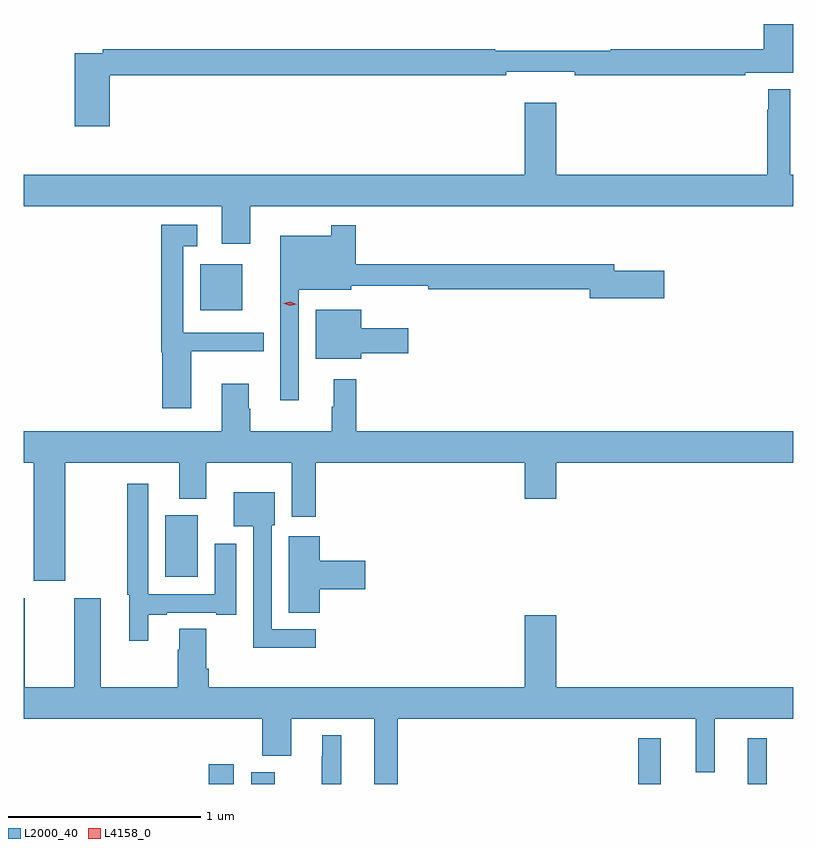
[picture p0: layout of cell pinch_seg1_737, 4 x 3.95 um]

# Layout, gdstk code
import gdstk
lib = gdstk.Library(unit=1e-6, precision=1e-09)
def R(c, l, rs):  # rectangles x0, y0, x1, y1
    for r in rs: c.add(gdstk.rectangle(r[:2], r[2:], *l))
def P(c, l, *ps):  # polygons
    for p in ps: c.add(gdstk.Polygon(p, *l))
L2000_40 = (2000, 40)
L4158_0 = (4158, 0)

pinch_seg1_737 = lib.new_cell('pinch_seg1_737')
R(pinch_seg1_737, L2000_40, [(858.668,522.09,858.799,522.193), (858.89,522.09,859.012,522.151), (860.901,522.09,861.019,522.328), (861.47,522.09,861.568,522.328), (858.443,523.166,858.613,523.486), (858.626,524.552,858.844,524.791)])
P(pinch_seg1_737, L2000_40, [(858.155,525.772),(860.216,525.772),(860.216,525.791),(860.572,525.791),(860.572,525.772),(861.458,525.772),(861.458,525.785),(861.707,525.785),(861.707,526.039),(861.554,526.039),(861.554,525.908),(860.758,525.908),(860.758,525.901),(860.158,525.901),(860.158,525.908),(858.118,525.908),(858.118,525.888),(857.972,525.888),(857.972,525.507),(858.155,525.507)],
  [(858.886,525.092),(861.707,525.092),(861.707,525.256),(861.691,525.256),(861.691,525.7),(861.576,525.7),(861.576,525.593),(861.57,525.593),(861.57,525.256),(860.476,525.256),(860.476,525.631),(860.312,525.631),(860.312,525.256),(857.707,525.256),(857.707,525.092),(858.737,525.092),(858.737,524.898),(858.886,524.898)],
  [(858.577,524.339),(858.956,524.339),(858.956,524.436),(858.537,524.436),(858.537,524.885),(858.61,524.885),(858.61,524.995),(858.421,524.995),(858.421,524.333),(858.428,524.333),(858.428,524.043),(858.577,524.043)],
  [(859.137,524.657),(859.41,524.657),(859.41,524.68),(859.81,524.68),(859.81,524.662),(860.648,524.662),(860.648,524.615),(861.037,524.615),(861.037,524.757),(860.776,524.757),(860.776,524.791),(859.433,524.791),(859.433,524.992),(859.305,524.992),(859.305,524.938),(859.04,524.938),(859.04,524.561),(859.041,524.561),(859.041,524.085),(859.137,524.085)],
  [(859.462,524.329),(859.705,524.329),(859.705,524.458),(859.462,524.458),(859.462,524.554),(859.226,524.554),(859.226,524.3),(859.462,524.3)],
  [(859.1,523.479),(859.226,523.479),(859.226,523.76),(860.312,523.76),(860.312,523.572),(860.476,523.572),(860.476,523.76),(861.707,523.76),(861.707,523.924),(859.436,523.924),(859.436,524.194),(859.319,524.194),(859.319,524.051),(859.308,524.051),(859.308,523.924),(858.885,523.924),(858.885,524.039),(858.877,524.039),(858.877,524.17),(858.737,524.17),(858.737,523.924),(857.707,523.924),(857.707,523.76),(857.759,523.76),(857.759,523.145),(857.923,523.145),(857.923,523.76),(858.515,523.76),(858.515,523.571),(858.655,523.571),(858.655,523.76),(859.1,523.76)],
  [(858.355,522.969),(858.451,522.969),(858.451,522.981),(858.707,522.981),(858.707,522.969),(858.811,522.969),(858.811,523.339),(858.701,523.339),(858.701,523.077),(858.354,523.077),(858.354,523.651),(858.246,523.651),(858.246,523.074),(858.257,523.074),(858.257,522.834),(858.355,522.834)],
  [(859.225,522.894),(858.996,522.894),(858.996,523.434),(859.012,523.434),(859.012,523.606),(858.8,523.606),(858.8,523.43),(858.9,523.43),(858.9,522.797),(859.225,522.797)],
  [(859.247,523.103),(859.483,523.103),(859.483,523.25),(859.247,523.25),(859.247,523.378),(859.085,523.378),(859.085,522.979),(859.247,522.979)],
  [(859.652,522.428),(861.2,522.428),(861.2,522.15),(861.298,522.15),(861.298,522.428),(861.707,522.428),(861.707,522.592),(860.476,522.592),(860.476,522.967),(860.312,522.967),(860.312,522.592),(858.668,522.592),(858.668,522.688),(858.655,522.688),(858.655,522.896),(858.515,522.896),(858.515,522.788),(858.508,522.788),(858.508,522.592),(858.109,522.592),(858.109,523.054),(857.969,523.054),(857.969,522.592),(857.713,522.592),(857.713,523.054),(857.707,523.054),(857.707,522.428),(858.947,522.428),(858.947,522.236),(859.099,522.236),(859.099,522.428),(859.529,522.428),(859.529,522.09),(859.652,522.09)],
  [(859.357,522.343),(859.259,522.343),(859.259,522.233),(859.255,522.233),(859.255,522.09),(859.357,522.09)])
P(pinch_seg1_737, L4158_0, [(859.091,524.576),(859.056,524.587),(859.056,524.587),(859.056,524.587),(859.092,524.596),(859.127,524.584),(859.127,524.584),(859.127,524.584)])

lib.write_gds('pinch_seg1_737.gds')
